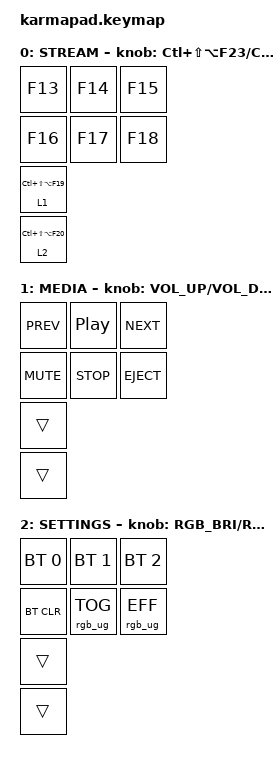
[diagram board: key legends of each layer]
/*
 * KarmaPad — 6-key wireless macropad + 2 encoder switches
 * Shield for nice_nano_v2 (Pro Micro NRF52840)
 *
 * "If humans made it, I can do it too."
 *   — 1801 Collective / Karma Ecosystem
 *
 * LAYOUT (8 inputs total):
 *   [K1] [K2] [K3]         Knob-L         Knob-R
 *   [K4] [K5] [K6]        (K7 press)     (K8 press)
 *
 * ENCODER PRESS BEHAVIOR:
 *   Tap Knob-L  = Mic mute    | Hold Knob-L = MEDIA layer
 *   Tap Knob-R  = Desk mute   | Hold Knob-R = SETTINGS layer
 */

#include <behaviors.dtsi>
#include <dt-bindings/zmk/keys.h>
#include <dt-bindings/zmk/bt.h>
#include <dt-bindings/zmk/rgb.h>
#include <dt-bindings/zmk/ext_power.h>

/ {
    behaviors {
        enc_lt: encoder_layer_tap {
            compatible = "zmk,behavior-hold-tap";
            #binding-cells = <2>;
            tapping-term-ms = <200>;
            quick-tap-ms = <150>;
            flavor = "tap-preferred";
            bindings = <&mo>, <&kp>;
        };
    };

    keymap {
        compatible = "zmk,keymap";

        // ========== LAYER 0: STREAM ==========
        stream_layer {
            display-name = "STREAM";
            bindings = <
                &kp F13         &kp F14         &kp F15
                &kp F16         &kp F17         &kp F18
                &enc_lt 1 LC(LS(LA(F19)))     // K7: tap=mic mute, hold=MEDIA
                &enc_lt 2 LC(LS(LA(F20)))     // K8: tap=desk mute, hold=SETTINGS
            >;
            sensor-bindings = <&inc_dec_kp LC(LS(LA(F23))) LC(LS(LA(F24)))
                               &inc_dec_kp C_VOL_UP C_VOL_DN>;
        };

        // ========== LAYER 1: MEDIA ==========
        media_layer {
            display-name = "MEDIA";
            bindings = <
                &kp C_PREV      &kp C_PP        &kp C_NEXT
                &kp C_MUTE      &kp C_STOP      &kp C_EJECT
                &trans
                &trans
            >;
            sensor-bindings = <&inc_dec_kp C_VOL_UP C_VOL_DN
                               &inc_dec_kp C_BRI_UP C_BRI_DN>;
        };

        // ========== LAYER 2: SETTINGS ==========
        settings_layer {
            display-name = "SETTINGS";
            bindings = <
                &bt BT_SEL 0    &bt BT_SEL 1    &bt BT_SEL 2
                &bt BT_CLR      &rgb_ug RGB_TOG &rgb_ug RGB_EFF
                &trans
                &trans
            >;
            sensor-bindings = <&rgb_ug RGB_BRI RGB_BRD
                               &rgb_ug RGB_HUI RGB_HUD>;
        };
    };
};
